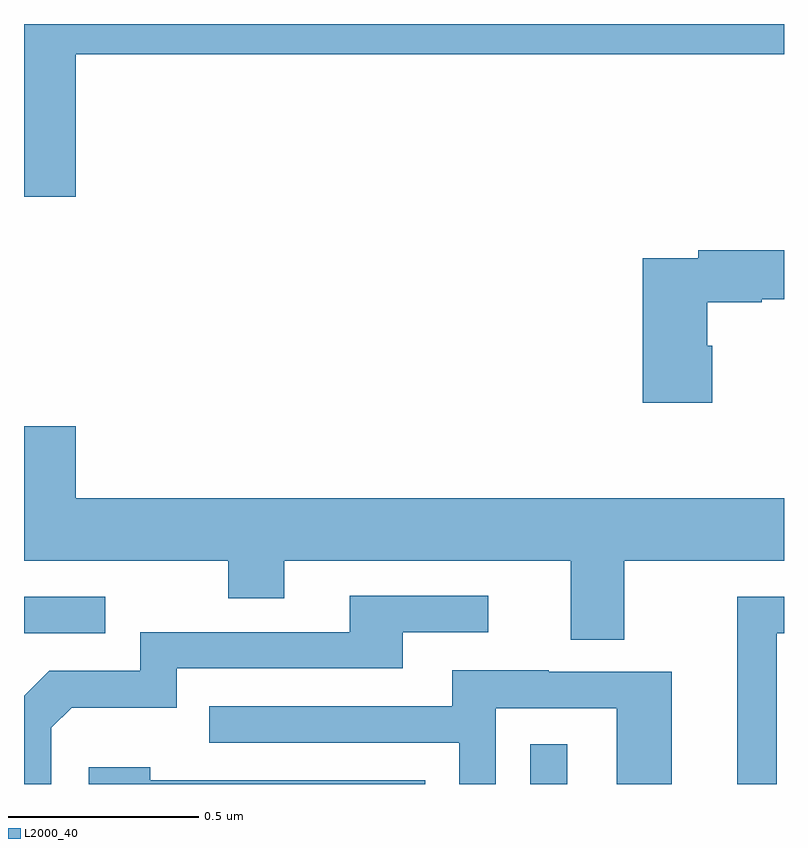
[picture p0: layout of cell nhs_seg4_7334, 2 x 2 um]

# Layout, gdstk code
import gdstk
lib = gdstk.Library(unit=1e-6, precision=1e-09)
def R(c, l, rs):  # rectangles x0, y0, x1, y1
    for r in rs: c.add(gdstk.rectangle(r[:2], r[2:], *l))
def P(c, l, *ps):  # polygons
    for p in ps: c.add(gdstk.Polygon(p, *l))
L2000_40 = (2000, 40)

nhs_seg4_7334 = lib.new_cell('nhs_seg4_7334')
R(nhs_seg4_7334, L2000_40, [(202.332,794.9,202.429,795.004), (201,795.297,201.214,795.393)])
P(nhs_seg4_7334, L2000_40, [(201.136,796.82),(203,796.82),(203,796.9),(201,796.9),(201,796.446),(201.136,796.446)],
  [(202.811,796.053),(202.798,796.053),(202.798,796.168),(202.941,796.168),(202.941,796.176),(203,796.176),(203,796.304),(202.774,796.304),(202.774,796.284),(202.628,796.284),(202.628,795.903),(202.811,795.903)],
  [(202.579,795.488),(203,795.488),(203,795.652),(201.136,795.652),(201.136,795.841),(201,795.841),(201,795.488),(201.538,795.488),(201.538,795.389),(201.685,795.389),(201.685,795.488),(202.439,795.488),(202.439,795.28),(202.579,795.28)],
  [(201.072,795.048),(201.125,795.101),(201.402,795.101),(201.402,795.204),(201.997,795.204),(201.997,795.3),(202.222,795.3),(202.222,795.396),(201.857,795.396),(201.857,795.3),(201.306,795.3),(201.306,795.198),(201.066,795.198),(201,795.132),(201,794.9),(201.072,794.9)],
  [(202.981,795.297),(203,795.297),(203,795.393),(202.877,795.393),(202.877,794.9),(202.981,794.9)],
  [(202.242,795.099),(202.56,795.099),(202.56,794.9),(202.705,794.9),(202.705,795.195),(202.381,795.195),(202.381,795.199),(202.127,795.199),(202.127,795.105),(201.487,795.105),(201.487,795.009),(202.146,795.009),(202.146,794.9),(202.242,794.9)],
  [(202.056,794.91),(201.332,794.91),(201.332,794.944),(201.171,794.944),(201.171,794.9),(202.056,794.9)])

lib.write_gds('nhs_seg4_7334.gds')
